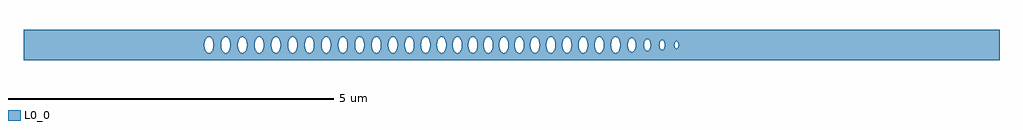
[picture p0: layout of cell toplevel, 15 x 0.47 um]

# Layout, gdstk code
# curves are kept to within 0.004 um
import gdstk
lib = gdstk.Library(unit=1e-6, precision=1e-09)
def P(c, l, *ps):  # polygons
    for p in ps: c.add(gdstk.Polygon(p, *l))
L0_0 = (0, 0)

toplevel = lib.new_cell('toplevel')
P(toplevel, L0_0, [(-4.205,0.016),(-4.187,0.085),(-4.187,0.235),(-7.5,0.235),(-7.5,-0.016),(-4.72,-0.016),(-4.717,0.038),(-4.707,0.073),(-4.684,0.109),(-4.654,0.124),(-4.628,0.118),(-4.599,0.085),(-4.584,0.046),(-4.58,-0.016),(-4.463,-0.016),(-4.46,0.038),(-4.45,0.073),(-4.427,0.109),(-4.397,0.124),(-4.371,0.118),(-4.344,0.09),(-4.327,0.046),(-4.322,0.008),(-4.324,-0.031),(-4.338,-0.079),(-4.359,-0.109),(-4.388,-0.124),(-4.414,-0.118),(-4.438,-0.096),(-4.45,-0.073),(-4.463,-0.016),(-4.58,-0.016),(-4.588,-0.06),(-4.605,-0.096),(-4.628,-0.118),(-4.645,-0.124),(-4.672,-0.118),(-4.695,-0.096),(-4.712,-0.06),(-4.72,-0.016),(-7.5,-0.016),(-7.5,-0.235),(-4.187,-0.235),(-4.187,-0.085),(-4.204,-0.031)],
  [(-4.18,0.096),(-4.157,0.118),(-4.14,0.124),(-4.122,0.122),(-4.101,0.109),(-4.074,0.06),(-4.065,-0.016),(-3.948,-0.016),(-3.942,0.053),(-3.923,0.096),(-3.9,0.118),(-3.865,0.122),(-3.84,0.105),(-3.821,0.073),(-3.807,0),(-3.812,-0.046),(-3.827,-0.085),(-3.844,-0.109),(-3.869,-0.123),(-3.9,-0.118),(-3.923,-0.096),(-3.94,-0.06),(-3.948,-0.016),(-4.065,-0.016),(-4.084,-0.085),(-4.101,-0.109),(-4.122,-0.122),(-4.14,-0.124),(-4.157,-0.118),(-4.187,-0.085),(-4.187,-0.235),(-3.599,-0.235),(-3.599,-0.118),(-3.625,-0.124),(-3.655,-0.109),(-3.678,-0.073),(-3.691,-0.016),(-3.688,0.038),(-3.666,0.096),(-3.634,0.122),(-3.616,0.124),(-3.599,0.118),(-3.599,0.235),(-4.187,0.235),(-4.187,0.085)],
  [(-3.174,0.031),(-3.168,0.06),(-3.151,0.096),(-3.128,0.118),(-3.11,0.124),(-3.088,0.12),(-3.068,0.105),(-3.04,0.046),(-3.04,0.235),(-3.599,0.235),(-3.599,0.118),(-3.566,0.079),(-3.552,0.031),(-3.55,-0.008),(-3.434,-0.008),(-3.432,0.031),(-3.418,0.079),(-3.397,0.109),(-3.368,0.124),(-3.342,0.118),(-3.318,0.096),(-3.306,0.073),(-3.293,0.016),(-3.296,-0.038),(-3.306,-0.073),(-3.329,-0.109),(-3.359,-0.124),(-3.385,-0.118),(-3.412,-0.09),(-3.429,-0.046),(-3.434,-0.008),(-3.55,-0.008),(-3.566,-0.079),(-3.599,-0.118),(-3.599,-0.235),(-3.04,-0.235),(-3.04,-0.046),(-3.055,-0.085),(-3.072,-0.109),(-3.102,-0.124),(-3.128,-0.118),(-3.151,-0.096),(-3.168,-0.06),(-3.176,-0.016)],
  [(-3.038,-0.031),(-3.04,-0.235),(-2.391,-0.235),(-2.391,-0.073),(-2.404,-0.016),(-2.4,0.046),(-2.391,0.072),(-2.391,0.235),(-3.04,0.235),(-3.036,-0.016),(-2.919,-0.016),(-2.916,0.038),(-2.906,0.073),(-2.883,0.109),(-2.853,0.124),(-2.827,0.118),(-2.797,0.085),(-2.783,0.046),(-2.778,-0.008),(-2.662,-0.008),(-2.657,0.046),(-2.64,0.09),(-2.613,0.118),(-2.582,0.123),(-2.546,0.096),(-2.534,0.073),(-2.521,0.016),(-2.524,-0.038),(-2.534,-0.073),(-2.557,-0.109),(-2.578,-0.122),(-2.605,-0.122),(-2.636,-0.096),(-2.653,-0.06),(-2.662,-0.008),(-2.778,-0.008),(-2.783,-0.046),(-2.797,-0.085),(-2.815,-0.109),(-2.844,-0.124),(-2.87,-0.118),(-2.894,-0.096),(-2.906,-0.073),(-2.919,-0.016),(-3.036,-0.016)],
  [(-2.385,0.085),(-2.356,0.118),(-2.321,0.122),(-2.296,0.105),(-2.277,0.073),(-2.268,0.046),(-2.264,0),(-2.148,0),(-2.143,0.046),(-2.122,0.096),(-2.095,0.12),(-2.064,0.122),(-2.039,0.105),(-2.02,0.073),(-2.01,0.038),(-2.007,-0.016),(-2.015,-0.06),(-2.032,-0.096),(-2.055,-0.118),(-2.082,-0.124),(-2.111,-0.109),(-2.128,-0.085),(-2.143,-0.046),(-2.148,0),(-2.264,0),(-2.268,-0.046),(-2.277,-0.073),(-2.289,-0.096),(-2.312,-0.118),(-2.33,-0.124),(-2.356,-0.118),(-2.372,-0.105),(-2.391,-0.073),(-2.391,-0.235),(-1.817,-0.235),(-1.817,-0.124),(-1.844,-0.118),(-1.867,-0.096),(-1.884,-0.06),(-1.892,-0.016),(-1.889,0.038),(-1.873,0.085),(-1.844,0.118),(-1.817,0.124),(-1.817,0.235),(-2.391,0.235),(-2.391,0.073)],
  [(-1.39,0.016),(-1.377,0.073),(-1.362,0.1),(-1.342,0.118),(-1.325,0.124),(-1.298,0.118),(-1.269,0.085),(-1.269,0.235),(-1.817,0.235),(-1.817,0.124),(-1.788,0.109),(-1.77,0.085),(-1.756,0.046),(-1.751,-0.008),(-1.64,-0.008),(-1.635,0.046),(-1.624,0.079),(-1.603,0.109),(-1.574,0.124),(-1.547,0.118),(-1.524,0.096),(-1.507,0.06),(-1.499,0.016),(-1.502,-0.038),(-1.512,-0.073),(-1.535,-0.109),(-1.565,-0.124),(-1.591,-0.118),(-1.614,-0.096),(-1.631,-0.06),(-1.64,-0.008),(-1.751,-0.008),(-1.756,-0.046),(-1.77,-0.085),(-1.788,-0.109),(-1.817,-0.124),(-1.817,-0.235),(-1.269,-0.235),(-1.269,-0.085),(-1.286,-0.109),(-1.307,-0.122),(-1.333,-0.122),(-1.354,-0.109),(-1.382,-0.06)],
  [(-0.664,-0.008),(-0.663,0.235),(-1.269,0.235),(-1.269,0.085),(-1.253,0.038),(-1.25,-0.016),(-1.145,-0.016),(-1.142,0.038),(-1.132,0.073),(-1.109,0.109),(-1.079,0.124),(-1.053,0.118),(-1.023,0.085),(-1.006,0.031),(-1.005,-0.016),(-0.903,-0.016),(-0.9,0.038),(-0.89,0.073),(-0.867,0.109),(-0.837,0.124),(-0.811,0.118),(-0.784,0.09),(-0.767,0.046),(-0.762,0.008),(-0.764,-0.031),(-0.778,-0.079),(-0.799,-0.109),(-0.828,-0.124),(-0.854,-0.118),(-0.878,-0.096),(-0.89,-0.073),(-0.903,-0.016),(-1.005,-0.016),(-1.009,-0.046),(-1.026,-0.09),(-1.041,-0.109),(-1.07,-0.124),(-1.096,-0.118),(-1.12,-0.096),(-1.132,-0.073),(-1.145,-0.016),(-1.25,-0.016),(-1.256,-0.053),(-1.269,-0.085),(-1.269,-0.235),(-0.663,-0.235)],
  [(-0.66,0.038),(-0.648,0.079),(-0.631,0.105),(-0.607,0.122),(-0.58,0.122),(-0.556,0.105),(-0.536,0.073),(-0.525,0.031),(-0.524,-0.016),(-0.426,-0.016),(-0.423,0.038),(-0.407,0.085),(-0.378,0.118),(-0.351,0.124),(-0.322,0.109),(-0.304,0.085),(-0.29,0.046),(-0.285,0),(-0.29,-0.046),(-0.304,-0.085),(-0.322,-0.109),(-0.351,-0.124),(-0.378,-0.118),(-0.401,-0.096),(-0.418,-0.06),(-0.426,-0.016),(-0.524,-0.016),(-0.528,-0.046),(-0.545,-0.09),(-0.563,-0.112),(-0.589,-0.124),(-0.615,-0.118),(-0.635,-0.1),(-0.653,-0.066),(-0.663,-0.026),(-0.663,-0.235),(-0.153,-0.235),(-0.153,-0.109),(-0.176,-0.073),(-0.189,-0.016),(-0.18,0.06),(-0.153,0.109),(-0.153,0.235),(-0.663,0.235)],
  [(-0.14,0.118),(-0.123,0.124),(-0.105,0.122),(-0.074,0.096),(-0.053,0.046),(-0.048,-0.008),(0.049,-0.008),(0.052,0.038),(0.071,0.09),(0.098,0.118),(0.115,0.124),(0.133,0.122),(0.157,0.105),(0.174,0.079),(0.188,0.031),(0.19,-0.008),(0.185,-0.046),(0.171,-0.085),(0.153,-0.109),(0.124,-0.124),(0.098,-0.118),(0.071,-0.09),(0.054,-0.046),(0.049,-0.008),(-0.048,-0.008),(-0.059,-0.066),(-0.085,-0.109),(-0.114,-0.124),(-0.132,-0.122),(-0.153,-0.109),(-0.153,-0.235),(0.402,-0.235),(0.402,-0.1),(0.382,-0.118),(0.365,-0.124),(0.334,-0.115),(0.315,-0.096),(0.303,-0.073),(0.29,-0.016),(0.299,0.06),(0.326,0.109),(0.347,0.122),(0.365,0.124),(0.382,0.118),(0.402,0.1),(0.402,0.235),(-0.153,0.235),(-0.153,0.109)],
  [(0.783,0.014),(0.801,0.085),(0.822,0.112),(0.848,0.124),(0.874,0.118),(0.897,0.096),(0.912,0.066),(0.922,0.023),(0.922,0.235),(0.402,0.235),(0.402,0.1),(0.426,0.046),(0.43,-0.016),(0.535,-0.016),(0.538,0.038),(0.548,0.073),(0.571,0.109),(0.601,0.124),(0.627,0.118),(0.65,0.096),(0.667,0.06),(0.675,0.016),(0.671,-0.046),(0.662,-0.073),(0.639,-0.109),(0.609,-0.124),(0.583,-0.118),(0.56,-0.096),(0.543,-0.06),(0.535,-0.016),(0.43,-0.016),(0.422,-0.06),(0.402,-0.1),(0.402,-0.235),(0.922,-0.235),(0.922,-0.026),(0.907,-0.079),(0.89,-0.105),(0.866,-0.122),(0.839,-0.122),(0.815,-0.105),(0.795,-0.073),(0.784,-0.031)],
  [(1.54,-0.235),(1.54,-0.066),(1.529,0),(1.54,0.066),(1.54,0.235),(0.922,0.235),(0.923,-0.008),(1.03,-0.008),(1.035,0.046),(1.046,0.079),(1.067,0.109),(1.096,0.124),(1.123,0.118),(1.152,0.085),(1.168,0.038),(1.171,-0.016),(1.279,-0.016),(1.282,0.038),(1.292,0.073),(1.315,0.109),(1.345,0.124),(1.371,0.118),(1.394,0.096),(1.415,0.046),(1.42,0),(1.415,-0.046),(1.4,-0.085),(1.383,-0.109),(1.354,-0.124),(1.327,-0.118),(1.304,-0.096),(1.287,-0.06),(1.279,-0.016),(1.171,-0.016),(1.163,-0.06),(1.146,-0.096),(1.123,-0.118),(1.096,-0.124),(1.067,-0.109),(1.049,-0.085),(1.035,-0.046),(1.03,-0.008),(0.923,-0.008),(0.922,-0.235)],
  [(1.54,-0.235),(2.103,-0.235),(2.103,-0.088),(2.084,-0.092),(2.062,-0.081),(2.044,-0.049),(2.036,-0.006),(2.041,0.039),(2.052,0.067),(2.071,0.088),(2.103,0.088),(2.103,0.235),(1.54,0.235),(1.54,0.066),(1.566,0.109),(1.587,0.122),(1.613,0.122),(1.638,0.105),(1.657,0.073),(1.667,0.038),(1.67,-0.007),(1.788,-0.007),(1.792,0.04),(1.804,0.074),(1.83,0.103),(1.852,0.108),(1.878,0.095),(1.89,0.079),(1.909,0.014),(1.898,-0.064),(1.878,-0.095),(1.852,-0.108),(1.83,-0.103),(1.807,-0.079),(1.792,-0.04),(1.788,-0.007),(1.67,-0.007),(1.664,-0.053),(1.651,-0.085),(1.634,-0.109),(1.609,-0.123),(1.587,-0.122),(1.566,-0.109),(1.54,-0.067)],
  [(2.136,-0.023),(2.122,-0.067),(2.103,-0.088),(2.103,-0.235),(7.5,-0.235),(7.5,0.235),(2.103,0.235),(2.103,0.088),(2.13,0.049),(2.137,-0.01),(2.274,-0.01),(2.283,0.048),(2.297,0.069),(2.312,0.076),(2.325,0.074),(2.341,0.059),(2.353,0.028),(2.355,-0.008),(2.505,-0.008),(2.512,0.038),(2.532,0.06),(2.553,0.051),(2.567,0.008),(2.56,-0.038),(2.54,-0.06),(2.518,-0.049),(2.505,-0.008),(2.355,-0.008),(2.341,-0.059),(2.317,-0.076),(2.3,-0.071),(2.289,-0.059),(2.274,-0.01),(2.137,-0.01)])

lib.write_gds('toplevel.gds')
